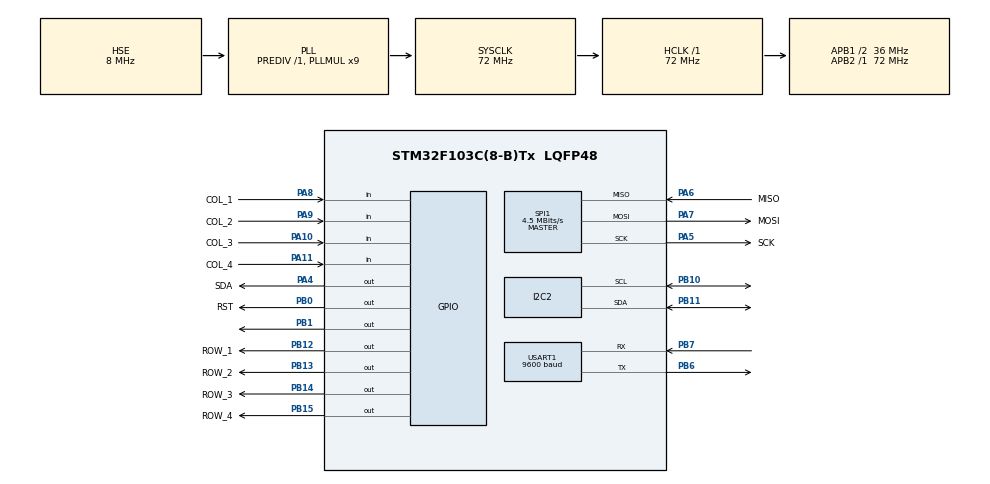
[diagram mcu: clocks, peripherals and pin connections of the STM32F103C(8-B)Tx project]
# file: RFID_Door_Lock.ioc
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Mcu.Family=STM32F1
Mcu.Name=STM32F103C(8-B)Tx
Mcu.Package=LQFP48
NVIC.PriorityGroup=NVIC_PRIORITYGROUP_4
PA10.GPIO_Label=COL_3
PA10.GPIO_PuPd=GPIO_PULLUP
PA10.Signal=GPIO_Input
PA11.GPIO_Label=COL_4
PA11.GPIO_PuPd=GPIO_PULLUP
PA11.Signal=GPIO_Input
PA13.Mode=Serial_Wire
PA13.Signal=SYS_JTMS-SWDIO
PA14.Mode=Serial_Wire
PA14.Signal=SYS_JTCK-SWCLK
PA4.GPIO_Label=SDA
PA4.Signal=GPIO_Output
PA5.GPIO_Label=SCK
PA5.Mode=Full_Duplex_Master
PA5.Signal=SPI1_SCK
PA6.GPIO_Label=MISO
PA6.Mode=Full_Duplex_Master
PA6.Signal=SPI1_MISO
PA7.GPIO_Label=MOSI
PA7.Mode=Full_Duplex_Master
PA7.Signal=SPI1_MOSI
PA8.GPIO_Label=COL_1
PA8.GPIO_PuPd=GPIO_PULLUP
PA8.Signal=GPIO_Input
PA9.GPIO_Label=COL_2
PA9.GPIO_PuPd=GPIO_PULLUP
PA9.Signal=GPIO_Input
PB0.GPIO_Label=RST
PB0.Signal=GPIO_Output
PB1.Signal=GPIO_Output
PB10.Mode=I2C
PB10.Signal=I2C2_SCL
PB11.Mode=I2C
PB11.Signal=I2C2_SDA
PB12.GPIO_Label=ROW_1
PB12.Signal=GPIO_Output
PB13.GPIO_Label=ROW_2
PB13.Signal=GPIO_Output
PB14.GPIO_Label=ROW_3
PB14.Signal=GPIO_Output
PB15.GPIO_Label=ROW_4
PB15.Signal=GPIO_Output
PB6.Mode=Asynchronous
PB6.Signal=USART1_TX
PB7.Mode=Asynchronous
PB7.Signal=USART1_RX
PD0-OSC_IN.Mode=HSE-External-Oscillator
PD0-OSC_IN.Signal=RCC_OSC_IN
PD1-OSC_OUT.Mode=HSE-External-Oscillator
PD1-OSC_OUT.Signal=RCC_OSC_OUT
ProjectManager.HeapSize=0x200
ProjectManager.StackSize=0x400
ProjectManager.TargetToolchain=STM32CubeIDE
RCC.AHBFreq_Value=72000000
RCC.APB1CLKDivider=RCC_HCLK_DIV2
RCC.APB1Freq_Value=36000000
RCC.APB1TimFreq_Value=72000000
RCC.APB2Freq_Value=72000000
RCC.APB2TimFreq_Value=72000000
RCC.HCLKFreq_Value=72000000
RCC.PLLMUL=RCC_PLL_MUL9
RCC.PLLSourceVirtual=RCC_PLLSOURCE_HSE
RCC.SYSCLKFreq_VALUE=72000000
RCC.SYSCLKSource=RCC_SYSCLKSOURCE_PLLCLK
RCC.USBFreq_Value=72000000
SPI1.BaudRatePrescaler=SPI_BAUDRATEPRESCALER_16
SPI1.CalculateBaudRate=4.5 MBits/s
SPI1.Direction=SPI_DIRECTION_2LINES
SPI1.Mode=SPI_MODE_MASTER
SPI1.VirtualType=VM_MASTER
USART1.BaudRate=9600
USART1.VirtualMode=VM_ASYNC
board=custom

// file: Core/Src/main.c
/* USER CODE BEGIN Header */
/**
  ******************************************************************************
  * @file           : main.c
  * @brief          : Main program body
  ******************************************************************************
  * @attention
  *
  * Copyright (c) 2025 STMicroelectronics.
  * All rights reserved.
  *
  * This software is licensed under terms that can be found in the LICENSE file
  * in the root directory of this software component.
  * If no LICENSE file comes with this software, it is provided AS-IS.
  *
  ******************************************************************************
  */
/* USER CODE END Header */
#include "main.h"
#include "i2c.h"
#include "spi.h"
#include "usart.h"
#include "gpio.h"

/* USER CODE BEGIN Includes */

//Khác
#include <stdio.h>

//Thư viện ngoại vi
#include "..\Lib\Storage\flash_storage.h"
#include "..\Lib\RC522\rc522.h"
#include "../Lib/DFPlayer/dfplayer_mini.h"
#include "../Lib/KEYPAD/keypad.h"
#include "../Lib/LCD I2C/i2c-lcd.h"
/* USER CODE END Includes */

/* USER CODE BEGIN PD */
#define RELAY_PIN GPIO_PIN_1
#define RELAY_PORT GPIOB
/* USER CODE END PD */

/* USER CODE BEGIN PV */
// System Data
SystemData sysData;
uint8_t ADMIN_UID[4] = {51, 194, 201, 27}; // <-- THAY UID ADMIN VÀO ĐÂY
uint8_t str[MFRC522_MAX_LEN];
uint8_t sNum[4];

// Logic Variables
typedef enum {
    STATE_IDLE, STATE_INPUT_PASS, STATE_ACCESS_GRANTED, STATE_ACCESS_DENIED,
    STATE_LOCKED, STATE_ADMIN_MENU, STATE_ADMIN_SET_PASS_1, STATE_ADMIN_SET_PASS_2,
    STATE_ADMIN_EDIT_CARD, STATE_ADMIN_VIEW_ALL
} State;

State currState = STATE_IDLE;
char pass_buf[6];
char temp_pass[6];
uint8_t pass_idx = 0;
uint8_t wrong_cnt = 0;
uint32_t timer_relay = 0;
uint32_t timer_lock = 0;
uint32_t lock_duration = 0;
int view_scroll = 0;

// Biến xử lý phím (Quan trọng cho việc chống rung/lặp)
volatile char key_input = 0;     // Phím đã được xử lý (sạch)
char last_key_state = 0;         // Trạng thái phím lần quét trước
/* USER CODE END PV */

void SystemClock_Config(void);

/* USER CODE BEGIN 0 */
void Show_Idle() {
    LCD_Clear();
    LCD_SetCursor(0, 0); LCD_WriteString("Nhap Mat Khau");
    LCD_SetCursor(1, 0); LCD_WriteString("Hoac Quet The");
}

int Find_Card(uint8_t *uid) {
    for (int i = 0; i < sysData.card_count; i++) {
        if (memcmp(sysData.uids[i], uid, 4) == 0) return i;
    }
    return -1;
}

void Handle_Access(uint8_t granted, uint8_t is_pass) {
    LCD_Clear();
    if (granted) {
        LCD_SetCursor(0, 0); LCD_WriteString("Xin Moi Vao");
        DF_Play(1);

        HAL_GPIO_WritePin(RELAY_PORT, RELAY_PIN, GPIO_PIN_SET);

        timer_relay = HAL_GetTick();
        wrong_cnt = 0;
        currState = STATE_ACCESS_GRANTED;
    } else {
        LCD_SetCursor(0, 0);
        LCD_WriteString(is_pass ? "Sai Mat Khau" : "The Sai");

        // 1. Phát âm thanh "Sai" trước
        DF_Play(2);

        wrong_cnt++;
        HAL_Delay(2000);
        if (wrong_cnt >= 5) {
            currState = STATE_LOCKED;
            timer_lock = HAL_GetTick();
            // Logic thời gian khóa
            if (wrong_cnt >= 9) lock_duration = 1200000; // 20p
            else if (wrong_cnt >= 7) lock_duration = 600000; // 10p
            else lock_duration = 300000; // 5p (300s)
//             2. Sau đó mới phát âm thanh "Hệ thống khóa"
            DF_Play(3);
        } else {
            // Nếu chưa bị khóa thì chờ 2s rồi quay lại màn hình chính
            HAL_Delay(2000);
            currState = STATE_IDLE;
            Show_Idle();
        }
    }
}
/* USER CODE END 0 */

int main(void)
{

  /* MCU Configuration--------------------------------------------------------*/

  /* Reset of all peripherals, Initializes the Flash interface and the Systick. */
  HAL_Init();

  /* Configure the system clock */
  SystemClock_Config();

  /* Initialize all configured peripherals */
  MX_GPIO_Init();
  MX_I2C2_Init();
  MX_SPI1_Init();
  MX_USART1_UART_Init();
  /* USER CODE BEGIN 2 */
	MFRC522_Init();
	LCD_Init(&hi2c2);
	DF_Init(&huart1);
	Flash_Load(&sysData);
	DF_SetVolume(25);
	Show_Idle();
  /* USER CODE END 2 */

  /* Infinite loop */
  while (1)
  {

    /* USER CODE BEGIN 3 */
	  // 1. LOGIC TIMER (Tắt Relay, Hết giờ khóa)
	        if (currState == STATE_ACCESS_GRANTED) {
	            if (HAL_GetTick() - timer_relay > 7000) { // 7 giây mở cửa
	                HAL_GPIO_WritePin(RELAY_PORT, RELAY_PIN, GPIO_PIN_RESET); // Relay OFF
	                currState = STATE_IDLE;
	                Show_Idle();
	            }
	        }

	        // 2. LOGIC ĐỌC PHÍM (CHỐNG LẶP/CHỐNG RUNG)
	        char raw_key = Keypad_GetKey();
	        key_input = 0; // Reset phím sạch

	        // Chỉ nhận phím khi trạng thái thay đổi và phím đó khác 0
	        if (raw_key != 0 && raw_key != last_key_state) {
	            key_input = raw_key; // Đây là phím hợp lệ để xử lý
	            // (Tùy chọn) Có thể thêm tiếng Bíp mỗi khi bấm phím tại đây
	        }
	        last_key_state = raw_key; // Cập nhật trạng thái cũ

	        // 3. MÁY TRẠNG THÁI (STATE MACHINE)
	        switch (currState) {
	            case STATE_IDLE:
	                // -- Xử lý Keypad --
	                if (key_input >= '0' && key_input <= '9') {
	                    currState = STATE_INPUT_PASS;
	                    pass_idx = 0;
	                    memset(pass_buf, 0, 6);
	                    pass_buf[pass_idx++] = key_input;
	                    LCD_Clear();
	                    LCD_SetCursor(0, 0); LCD_WriteString("Mat khau:");
	                    LCD_SetCursor(1, 0); LCD_WriteString("*");
	                }

	                // -- Xử lý RFID --
	                // (Đặt ngoài if(key) để luôn quét được thẻ)
	                if (MFRC522_Request(PICC_REQIDL, str) == MI_OK) {
	                    if (MFRC522_Anticoll(str) == MI_OK) {
	                        memcpy(sNum, str, 4);
	                        // Check Admin
	                        if (memcmp(sNum, ADMIN_UID, 4) == 0) {
	                            currState = STATE_ADMIN_MENU;
	                            LCD_Clear();
	                            LCD_SetCursor(0, 0); LCD_WriteString("1.Doi MK 2.The");
	                            LCD_SetCursor(1, 0); LCD_WriteString("9.Xem tat ca");
	                            DF_Play(4);
	                        }
	                        // Check User Card
	                        else if (Find_Card(sNum) != -1) {
	                            Handle_Access(1, 0);
	                        } else {
	                            Handle_Access(0, 0);
	                        }
	                        HAL_Delay(500); // Chống đọc thẻ liên tục quá nhanh
	                    }
	                }
	                break;

	            case STATE_INPUT_PASS:
	                if (key_input == 'A') { // Nút Xóa / Hủy
	                    if (pass_idx > 0) {
	                        pass_idx--;
	                        pass_buf[pass_idx] = 0;
	                        LCD_SetCursor(1, pass_idx); LCD_WriteString(" ");
	                    } else {
	                        currState = STATE_IDLE;
	                        Show_Idle();
	                    }
	                } else if (key_input == 'D') { // Nút Enter
	                    if (pass_idx == 5 || pass_idx >= 1) { // Cho phép mật khẩu ngắn hơn 5 nếu muốn
	                        if (strcmp(pass_buf, sysData.password) == 0) Handle_Access(1, 1);
	                        else Handle_Access(0, 1);
	                    }
	                } else if (key_input >= '0' && key_input <= '9' && pass_idx < 5) {
	                    pass_buf[pass_idx++] = key_input;
	                    LCD_SetCursor(1, pass_idx - 1); LCD_WriteString("*");
	                }
	                break;

	            case STATE_LOCKED: {
	                uint32_t elapsed = HAL_GetTick() - timer_lock;
	                if (elapsed >= lock_duration) {
	                    wrong_cnt = 0;
	                    currState = STATE_IDLE;
	                    Show_Idle();
	                } else {
	                    static uint32_t last_disp = 0;
	                    if (HAL_GetTick() - last_disp > 1000) {
	                        LCD_Clear();
	                        LCD_SetCursor(0, 0); LCD_WriteString("BAN BI KHOA!");
	                        char buf[16];
	                        sprintf(buf, "Con: %lu s", (lock_duration - elapsed) / 1000);
	                        LCD_SetCursor(1, 0); LCD_WriteString(buf);
	                        last_disp = HAL_GetTick();
	                    }
	                }
	                break;
	            }

	            case STATE_ADMIN_MENU:
	                if (key_input == '1') {
	                    currState = STATE_ADMIN_SET_PASS_1;
	                    pass_idx = 0; memset(pass_buf, 0, 6);
	                    LCD_Clear(); LCD_SetCursor(0,0); LCD_WriteString("Nhap MK Moi:");
	                } else if (key_input == '2') {
	                    currState = STATE_ADMIN_EDIT_CARD;
	                    LCD_Clear(); LCD_SetCursor(0,0); LCD_WriteString("Quet the de sua");
	                } else if (key_input == '9') {
	                    currState = STATE_ADMIN_VIEW_ALL;
	                    view_scroll = 0;
	                    LCD_Clear();
	                } else if (key_input == 'A') {
	                    currState = STATE_IDLE; Show_Idle();
	                }
	                break;

	            case STATE_ADMIN_SET_PASS_1:
	                if (key_input >= '0' && key_input <= '9' && pass_idx < 5) {
	                    pass_buf[pass_idx++] = key_input;
	                    LCD_SetCursor(1, pass_idx-1); LCD_WriteChar(key_input);
	                } else if (key_input == 'A') {
	                    currState = STATE_ADMIN_MENU;
	                    LCD_Clear(); LCD_SetCursor(0, 0); LCD_WriteString("1.Doi MK 2.The");
	                    LCD_SetCursor(1, 0); LCD_WriteString("9.Xem tat ca");
	                } else if (key_input == 'D' && pass_idx == 5) {
	                    strcpy(temp_pass, pass_buf);
	                    currState = STATE_ADMIN_SET_PASS_2;
	                    pass_idx = 0; memset(pass_buf, 0, 6);
	                    LCD_Clear(); LCD_SetCursor(0,0); LCD_WriteString("Nhap Lai:");
	                }
	                break;

	            case STATE_ADMIN_SET_PASS_2:
	                if (key_input >= '0' && key_input <= '9' && pass_idx < 5) {
	                    pass_buf[pass_idx++] = key_input;
	                    LCD_SetCursor(1, pass_idx-1); LCD_WriteChar(key_input);
	                } else if (key_input == 'D' && pass_idx == 5) {
	                    if (strcmp(pass_buf, temp_pass) == 0) {
	                        strcpy(sysData.password, pass_buf);
	                        Flash_Save(&sysData);
	                        LCD_Clear(); LCD_WriteString("Thanh Cong!"); HAL_Delay(1000);
	                        currState = STATE_IDLE; Show_Idle();
	                    } else {
	                        LCD_Clear(); LCD_WriteString("Khong Khop!"); HAL_Delay(1000);
	                        currState = STATE_ADMIN_SET_PASS_1;
	                        pass_idx = 0; memset(pass_buf, 0, 6);
	                        LCD_Clear(); LCD_SetCursor(0,0); LCD_WriteString("Nhap MK Moi:");
	                    }
	                }
	                break;

	            case STATE_ADMIN_EDIT_CARD:
	                if (key_input == 'A') { currState = STATE_ADMIN_MENU; break; }

	                // Logic RFID trong menu Edit
	                if (MFRC522_Request(PICC_REQIDL, str) == MI_OK) {
	                    if (MFRC522_Anticoll(str) == MI_OK) {
	                        memcpy(sNum, str, 4);
	                        int idx = Find_Card(sNum);
	                        char buf[16];
	                        sprintf(buf, "%02X%02X%02X%02X", sNum[0], sNum[1], sNum[2], sNum[3]);
	                        LCD_Clear(); LCD_SetCursor(0,0); LCD_WriteString(buf);

	                        if (idx != -1) { // Thẻ đã có -> Hỏi xóa
	                            LCD_SetCursor(1,0); LCD_WriteString("B:Xoa A:Thoat");
	                            while(1) {
	                                char k = Keypad_GetKey(); // Blocking tạm thời ở đây cũng được
	                                if (k=='B') {
	                                    // Xóa bằng cách ghi đè thẻ cuối lên vị trí này
	                                    memcpy(sysData.uids[idx], sysData.uids[sysData.card_count-1], 4);
	                                    sysData.card_count--;
	                                    Flash_Save(&sysData);
	                                    LCD_Clear(); LCD_WriteString("Da Xoa!"); HAL_Delay(1000);
	                                    currState = STATE_IDLE; Show_Idle(); break;
	                                } else if (k=='A') { currState = STATE_IDLE; Show_Idle(); break; }
	                            }
	                        } else { // Thẻ chưa có -> Hỏi thêm
	                            if (sysData.card_count >= MAX_CARDS) {
	                                LCD_SetCursor(1,0); LCD_WriteString("Bo Nho Day!");
	                            } else {
	                                LCD_SetCursor(1,0); LCD_WriteString("B:Them A:Thoat");
	                                while(1) {
	                                    char k = Keypad_GetKey();
	                                    if (k=='B') {
	                                        memcpy(sysData.uids[sysData.card_count], sNum, 4);
	                                        sysData.card_count++;
	                                        Flash_Save(&sysData);
	                                        LCD_Clear(); LCD_WriteString("Da Them!"); HAL_Delay(1000);
	                                        currState = STATE_IDLE; Show_Idle(); break;
	                                    } else if (k=='A') { currState = STATE_IDLE; Show_Idle(); break; }
	                                }
	                            }
	                        }
	                    }
	                }
	                break;

	            case STATE_ADMIN_VIEW_ALL:
	                // Chỉ vẽ lại khi cần (ví dụ khi mới vào hoặc khi bấm nút cuộn)
	                // (Code rút gọn để đỡ nháy màn hình liên tục)
	                if (key_input == '*' || key_input == '#' || view_scroll == 0 || key_input == 0) {
	                   // Logic hiển thị danh sách thẻ
	                   char buf[32];
	                   LCD_SetCursor(0,0);
	                   if (view_scroll < sysData.card_count) {
	                       sprintf(buf, "%d.%02X%02X%02X%02X ", view_scroll+1, sysData.uids[view_scroll][0], sysData.uids[view_scroll][1], sysData.uids[view_scroll][2], sysData.uids[view_scroll][3]);
	                       LCD_WriteString(buf);
	                   } else LCD_WriteString("                ");

	                   LCD_SetCursor(1,0);
	                   if (view_scroll+1 < sysData.card_count) {
	                       sprintf(buf, "%d.%02X%02X%02X%02X ", view_scroll+2, sysData.uids[view_scroll+1][0], sysData.uids[view_scroll+1][1], sysData.uids[view_scroll+1][2], sysData.uids[view_scroll+1][3]);
	                       LCD_WriteString(buf);
	                   } else LCD_WriteString("                ");
	                }

	                if (key_input == '*') { if(view_scroll>0) view_scroll--; }
	                else if (key_input == '#') { if(view_scroll < sysData.card_count-1) view_scroll++; }
	                else if (key_input == 'A') { currState = STATE_IDLE; Show_Idle(); }
	                break;

	            default: break;
	        }

	        HAL_Delay(10); // Nghỉ 10ms để giảm tải CPU
  }
  /* USER CODE END 3 */
}

void SystemClock_Config(void)
{
  RCC_OscInitTypeDef RCC_OscInitStruct = {0};
  RCC_ClkInitTypeDef RCC_ClkInitStruct = {0};

  /** Initializes the RCC Oscillators according to the specified parameters
  * in the RCC_OscInitTypeDef structure.
  */
  RCC_OscInitStruct.OscillatorType = RCC_OSCILLATORTYPE_HSE;
  RCC_OscInitStruct.HSEState = RCC_HSE_ON;
  RCC_OscInitStruct.HSEPredivValue = RCC_HSE_PREDIV_DIV1;
  RCC_OscInitStruct.HSIState = RCC_HSI_ON;
  RCC_OscInitStruct.PLL.PLLState = RCC_PLL_ON;
  RCC_OscInitStruct.PLL.PLLSource = RCC_PLLSOURCE_HSE;
  RCC_OscInitStruct.PLL.PLLMUL = RCC_PLL_MUL9;
  if (HAL_RCC_OscConfig(&RCC_OscInitStruct) != HAL_OK)
  {
    Error_Handler();
  }

  /** Initializes the CPU, AHB and APB buses clocks
  */
  RCC_ClkInitStruct.ClockType = RCC_CLOCKTYPE_HCLK|RCC_CLOCKTYPE_SYSCLK
                              |RCC_CLOCKTYPE_PCLK1|RCC_CLOCKTYPE_PCLK2;
  RCC_ClkInitStruct.SYSCLKSource = RCC_SYSCLKSOURCE_PLLCLK;
  RCC_ClkInitStruct.AHBCLKDivider = RCC_SYSCLK_DIV1;
  RCC_ClkInitStruct.APB1CLKDivider = RCC_HCLK_DIV2;
  RCC_ClkInitStruct.APB2CLKDivider = RCC_HCLK_DIV1;

  if (HAL_RCC_ClockConfig(&RCC_ClkInitStruct, FLASH_LATENCY_2) != HAL_OK)
  {
    Error_Handler();
  }
}

void Error_Handler(void)
{
  __disable_irq();
  while (1)
  {
  }
}
